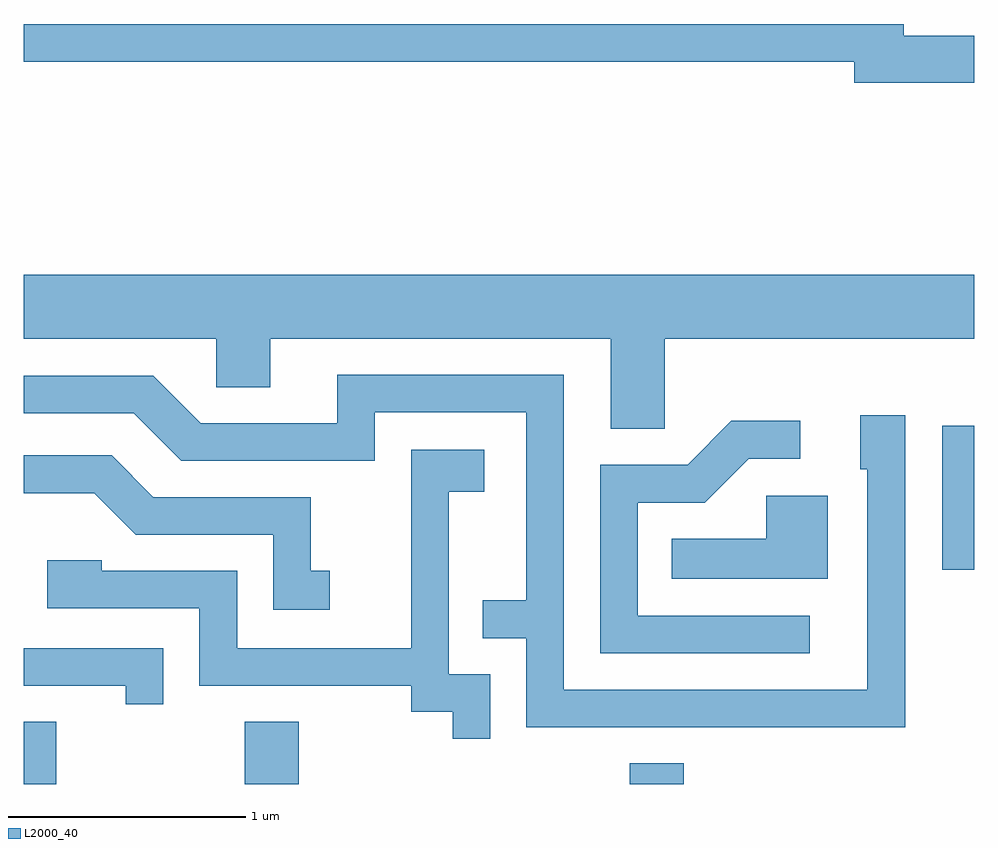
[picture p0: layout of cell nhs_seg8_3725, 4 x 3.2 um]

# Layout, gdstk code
import gdstk
lib = gdstk.Library(unit=1e-6, precision=1e-09)
def R(c, l, rs):  # rectangles x0, y0, x1, y1
    for r in rs: c.add(gdstk.rectangle(r[:2], r[2:], *l))
def P(c, l, *ps):  # polygons
    for p in ps: c.add(gdstk.Polygon(p, *l))
L2000_40 = (2000, 40)

nhs_seg8_3725 = lib.new_cell('nhs_seg8_3725')
R(nhs_seg8_3725, L2000_40, [(297.611,1812.342,297.749,1812.604), (298.541,1812.342,298.769,1812.604), (300.161,1812.342,300.389,1812.429), (301.476,1813.243,301.611,1813.849)])
P(nhs_seg8_3725, L2000_40, [(301.611,1815.489),(301.314,1815.489),(301.314,1815.539),(297.611,1815.539),(297.611,1815.381),(301.106,1815.381),(301.106,1815.291),(301.611,1815.291)],
  [(300.309,1814.216),(301.611,1814.216),(301.611,1814.484),(297.611,1814.484),(297.611,1814.216),(298.421,1814.216),(298.421,1814.011),(298.649,1814.011),(298.649,1814.216),(300.081,1814.216),(300.081,1813.836),(300.309,1813.836)],
  [(301.319,1813.894),(301.131,1813.894),(301.131,1813.666),(301.161,1813.666),(301.161,1812.739),(299.884,1812.739),(299.884,1814.064),(298.931,1814.064),(298.931,1813.859),(298.357,1813.859),(298.157,1814.059),(297.611,1814.059),(297.611,1813.901),(298.074,1813.901),(298.274,1813.701),(299.089,1813.701),(299.089,1813.906),(299.726,1813.906),(299.726,1813.114),(299.543,1813.114),(299.543,1812.956),(299.726,1812.956),(299.726,1812.581),(301.319,1812.581)],
  [(300.918,1813.049),(300.194,1813.049),(300.194,1813.526),(300.477,1813.526),(300.662,1813.711),(300.878,1813.711),(300.878,1813.869),(300.589,1813.869),(300.404,1813.684),(300.036,1813.684),(300.036,1812.891),(300.918,1812.891)],
  [(299.574,1812.804),(299.399,1812.804),(299.399,1813.571),(299.549,1813.571),(299.549,1813.749),(299.241,1813.749),(299.241,1812.914),(298.509,1812.914),(298.509,1813.239),(297.939,1813.239),(297.939,1813.284),(297.711,1813.284),(297.711,1813.081),(298.351,1813.081),(298.351,1812.756),(299.241,1812.756),(299.241,1812.646),(299.416,1812.646),(299.416,1812.533),(299.574,1812.533)],
  [(298.898,1813.239),(298.819,1813.239),(298.819,1813.549),(298.157,1813.549),(297.982,1813.724),(297.611,1813.724),(297.611,1813.566),(297.909,1813.566),(298.084,1813.391),(298.661,1813.391),(298.661,1813.076),(298.898,1813.076)],
  [(300.994,1813.554),(300.736,1813.554),(300.736,1813.374),(300.338,1813.374),(300.338,1813.206),(300.994,1813.206)],
  [(298.199,1812.914),(297.611,1812.914),(297.611,1812.756),(298.041,1812.756),(298.041,1812.678),(298.199,1812.678)])

lib.write_gds('nhs_seg8_3725.gds')
